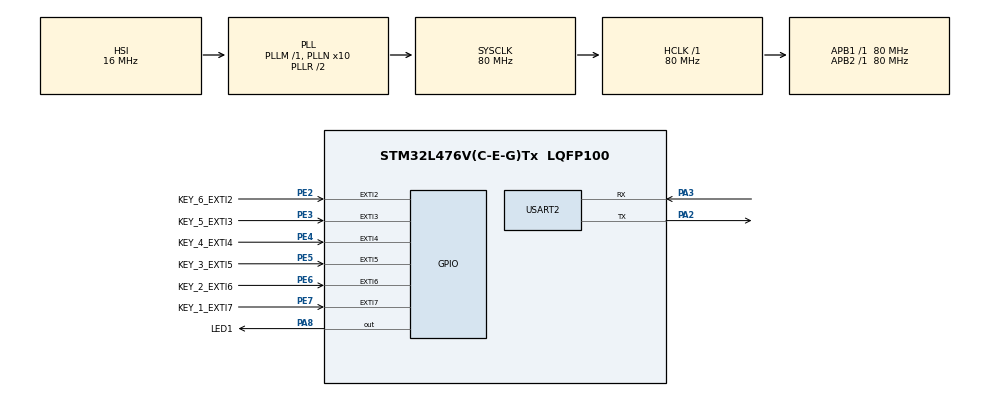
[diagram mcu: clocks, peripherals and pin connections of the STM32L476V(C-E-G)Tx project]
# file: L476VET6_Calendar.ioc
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Mcu.Family=STM32L4
Mcu.Name=STM32L476V(C-E-G)Tx
Mcu.Package=LQFP100
NVIC.EXTI2_IRQn=true\:0\:0\:true\:false\:true\:true\:true\:true
NVIC.EXTI3_IRQn=true\:0\:0\:true\:false\:true\:true\:true\:true
NVIC.EXTI4_IRQn=true\:0\:0\:true\:false\:true\:true\:true\:true
NVIC.EXTI9_5_IRQn=true\:0\:0\:true\:false\:true\:true\:true\:true
NVIC.PriorityGroup=NVIC_PRIORITYGROUP_4
NVIC.TIM2_IRQn=true\:0\:0\:false\:false\:true\:true\:true\:true
NVIC.TIM3_IRQn=true\:0\:0\:false\:false\:true\:true\:true\:true
NVIC.USART2_IRQn=true\:0\:0\:false\:false\:true\:true\:true\:true
PA13\ (JTMS-SWDIO).Mode=Serial_Wire
PA13\ (JTMS-SWDIO).Signal=SYS_JTMS-SWDIO
PA14\ (JTCK-SWCLK).Mode=Serial_Wire
PA14\ (JTCK-SWCLK).Signal=SYS_JTCK-SWCLK
PA2.Mode=Asynchronous
PA2.Signal=USART2_TX
PA3.Mode=Asynchronous
PA3.Signal=USART2_RX
PA8.GPIO_Label=LED1
PA8.Signal=GPIO_Output
PC14-OSC32_IN\ (PC14).Mode=LSE-External-Oscillator
PC14-OSC32_IN\ (PC14).Signal=RCC_OSC32_IN
PC15-OSC32_OUT\ (PC15).Mode=LSE-External-Oscillator
PC15-OSC32_OUT\ (PC15).Signal=RCC_OSC32_OUT
PE2.GPIO_Label=KEY_6_EXTI2
PE2.GPIO_ModeDefaultEXTI=GPIO_MODE_IT_RISING_FALLING
PE2.GPIO_PuPd=GPIO_PULLUP
PE2.Signal=GPXTI2
PE3.GPIO_Label=KEY_5_EXTI3
PE3.GPIO_ModeDefaultEXTI=GPIO_MODE_IT_RISING_FALLING
PE3.GPIO_PuPd=GPIO_PULLUP
PE3.Signal=GPXTI3
PE4.GPIO_Label=KEY_4_EXTI4
PE4.GPIO_ModeDefaultEXTI=GPIO_MODE_IT_RISING_FALLING
PE4.GPIO_PuPd=GPIO_PULLUP
PE4.Signal=GPXTI4
PE5.GPIO_Label=KEY_3_EXTI5
PE5.GPIO_ModeDefaultEXTI=GPIO_MODE_IT_RISING_FALLING
PE5.GPIO_PuPd=GPIO_PULLUP
PE5.Signal=GPXTI5
PE6.GPIO_Label=KEY_2_EXTI6
PE6.GPIO_ModeDefaultEXTI=GPIO_MODE_IT_RISING_FALLING
PE6.GPIO_PuPd=GPIO_PULLUP
PE6.Signal=GPXTI6
PE7.GPIO_Label=KEY_1_EXTI7
PE7.GPIO_ModeDefaultEXTI=GPIO_MODE_IT_RISING_FALLING
PE7.GPIO_PuPd=GPIO_PULLUP
PE7.Signal=GPXTI7
ProjectManager.HeapSize=0x200
ProjectManager.StackSize=0x400
ProjectManager.TargetToolchain=MDK-ARM V5.32
RCC.ADCFreq_Value=64000000
RCC.AHBFreq_Value=80000000
RCC.APB1Freq_Value=80000000
RCC.APB1TimFreq_Value=80000000
RCC.APB2Freq_Value=80000000
RCC.APB2TimFreq_Value=80000000
RCC.CortexFreq_Value=80000000
RCC.HCLKFreq_Value=80000000
RCC.HSE_VALUE=8000000
RCC.HSI_VALUE=16000000
RCC.MSI_VALUE=4000000
RCC.PLLN=10
RCC.PLLSourceVirtual=RCC_PLLSOURCE_HSI
RCC.RTCClockSelection=RCC_RTCCLKSOURCE_LSE
RCC.SYSCLKFreq_VALUE=80000000
RCC.SYSCLKSource=RCC_SYSCLKSOURCE_PLLCLK
RCC.USBFreq_Value=64000000
RCC.VCOOutputFreq_Value=160000000
RTC.Date=1
RTC.Format=RTC_FORMAT_BCD
RTC.Hours=0
RTC.Minutes=0
RTC.Month=RTC_MONTH_JANUARY
RTC.Year=0
TIM2.Period=49
TIM2.Prescaler=7999
TIM3.Period=9
TIM3.Prescaler=799
USART2.VirtualMode-Asynchronous=VM_ASYNC
VP_RTC_VS_RTC_Activate.Mode=RTC_Enabled
VP_RTC_VS_RTC_Calendar.Mode=RTC_Calendar
VP_TIM2_VS_ClockSourceINT.Mode=Internal
VP_TIM3_VS_ClockSourceINT.Mode=Internal
board=custom

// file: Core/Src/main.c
/* USER CODE BEGIN Header */
/**
  ******************************************************************************
  * @file           : main.c
  * @brief          : Main program body
  ******************************************************************************
  * @attention
  *
  * Copyright (c) 2024 STMicroelectronics.
  * All rights reserved.
  *
  * This software is licensed under terms that can be found in the LICENSE file
  * in the root directory of this software component.
  * If no LICENSE file comes with this software, it is provided AS-IS.
  *
  ******************************************************************************
  */
/* USER CODE END Header */
#include "main.h"
#include "rtc.h"
#include "tim.h"
#include "usart.h"
#include "gpio.h"

/* USER CODE BEGIN Includes */
#include "led.h"
#include "lcd_st7920.h"
#include "delay.h"
#include "key.h"
#include "low_pwr.h"
/* USER CODE END Includes */

void SystemClock_Config(void);

int main(void)
{

  /* MCU Configuration--------------------------------------------------------*/

  /* Reset of all peripherals, Initializes the Flash interface and the Systick. */
  HAL_Init();

  /* Configure the system clock */
  SystemClock_Config();

  /* Initialize all configured peripherals */
  MX_GPIO_Init();
  MX_RTC_Init();
  MX_USART2_UART_Init();
  MX_TIM2_Init();
  MX_TIM3_Init();
  /* USER CODE BEGIN 2 */
	DelayInit();
	GpioInit();
	LCD_ST7920_Init();
	LED_35V_CTL_L;//LCD��3.5v��ԴоƬ�أ�ʹ�ܣ�
	LCDClrDisplay();
	USART2_BUF_INIT(&rxbuf_struct);
	LOW_PWR_Init(LOW_PWR_COUNTDOWN);//1min

  /* USER CODE END 2 */

  /* Infinite loop */
  while (1)
  {

    /* USER CODE BEGIN 3 */

	  	HAL_RTC_GetTime(&hrtc, &Time, RTC_FORMAT_BIN);
		HAL_RTC_GetDate(&hrtc, &Date, RTC_FORMAT_BIN);
		if(!low_pwr_struct.low_pwr_flag)
		{
			/* Display date Format : yy/mm/dd */
			printf("DATE: %02d/%02d/%02d\r\nWEEKDAY: %02d\r\n",2000 + Date.Year, Date.Month, Date.Date,Date.WeekDay);
			/* Display time Format : hh:mm:ss */
			printf("TIME: %02d:%02d:%02d\r\n",Time.Hours, Time.Minutes, Time.Seconds);
			printf("\r\n");
			LCD_Display();
		}
	  LED_TOGGLE();

//	  USART2_BUF_DEINIT(rxbuf_struct);
  }
  /* USER CODE END 3 */
}

void SystemClock_Config(void)
{
  RCC_OscInitTypeDef RCC_OscInitStruct = {0};
  RCC_ClkInitTypeDef RCC_ClkInitStruct = {0};

  /** Configure the main internal regulator output voltage
  */
  if (HAL_PWREx_ControlVoltageScaling(PWR_REGULATOR_VOLTAGE_SCALE1) != HAL_OK)
  {
    Error_Handler();
  }

  /** Configure LSE Drive Capability
  */
  HAL_PWR_EnableBkUpAccess();
  __HAL_RCC_LSEDRIVE_CONFIG(RCC_LSEDRIVE_LOW);

  /** Initializes the RCC Oscillators according to the specified parameters
  * in the RCC_OscInitTypeDef structure.
  */
  RCC_OscInitStruct.OscillatorType = RCC_OSCILLATORTYPE_HSI|RCC_OSCILLATORTYPE_LSE;
  RCC_OscInitStruct.LSEState = RCC_LSE_ON;
  RCC_OscInitStruct.HSIState = RCC_HSI_ON;
  RCC_OscInitStruct.HSICalibrationValue = RCC_HSICALIBRATION_DEFAULT;
  RCC_OscInitStruct.PLL.PLLState = RCC_PLL_ON;
  RCC_OscInitStruct.PLL.PLLSource = RCC_PLLSOURCE_HSI;
  RCC_OscInitStruct.PLL.PLLM = 1;
  RCC_OscInitStruct.PLL.PLLN = 10;
  RCC_OscInitStruct.PLL.PLLP = RCC_PLLP_DIV7;
  RCC_OscInitStruct.PLL.PLLQ = RCC_PLLQ_DIV2;
  RCC_OscInitStruct.PLL.PLLR = RCC_PLLR_DIV2;
  if (HAL_RCC_OscConfig(&RCC_OscInitStruct) != HAL_OK)
  {
    Error_Handler();
  }

  /** Initializes the CPU, AHB and APB buses clocks
  */
  RCC_ClkInitStruct.ClockType = RCC_CLOCKTYPE_HCLK|RCC_CLOCKTYPE_SYSCLK
                              |RCC_CLOCKTYPE_PCLK1|RCC_CLOCKTYPE_PCLK2;
  RCC_ClkInitStruct.SYSCLKSource = RCC_SYSCLKSOURCE_PLLCLK;
  RCC_ClkInitStruct.AHBCLKDivider = RCC_SYSCLK_DIV1;
  RCC_ClkInitStruct.APB1CLKDivider = RCC_HCLK_DIV1;
  RCC_ClkInitStruct.APB2CLKDivider = RCC_HCLK_DIV1;

  if (HAL_RCC_ClockConfig(&RCC_ClkInitStruct, FLASH_LATENCY_4) != HAL_OK)
  {
    Error_Handler();
  }
}

void Error_Handler(void)
{
  __disable_irq();
  while (1)
  {
  }
}
